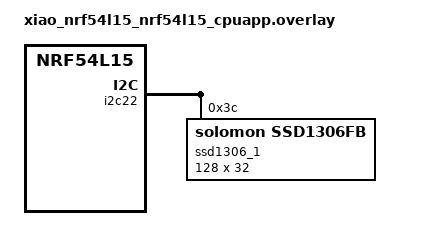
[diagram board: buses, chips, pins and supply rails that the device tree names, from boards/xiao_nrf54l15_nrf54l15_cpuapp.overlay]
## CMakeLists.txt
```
cmake_minimum_required(VERSION 3.20.0)
find_package(Zephyr REQUIRED HINTS $ENV{ZEPHYR_BASE})

project(oled_01)

target_sources(app PRIVATE src/main.c)
```

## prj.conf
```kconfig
CONFIG_PRINTK=y
CONFIG_I2C=y
CONFIG_DISPLAY=y
CONFIG_SSD1306=y
CONFIG_SSD1306_DEFAULT_CONTRAST=128
CONFIG_CHARACTER_FRAMEBUFFER=y
CONFIG_HEAP_MEM_POOL_SIZE=1024


CONFIG_LVGL=y
```

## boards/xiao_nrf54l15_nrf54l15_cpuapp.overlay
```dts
/ {
	chosen {
        zephyr,display = &ssd1306_1;
    };
};

&i2c22 {
	status = "okay";
	ssd1306_1: ssd1306@3c {
		compatible = "solomon,ssd1306fb";
		reg = <0x3c>;
		height = <32>;
		width = <128>;
		segment-offset = <0>;
		page-offset = <0>;
		display-offset = <0>;
		multiplex-ratio = <63>;
		prechargep = <0x22>;
		com-invdir;
		segment-remap;
	};
};

&pinctrl {
	i2c22_default: i2c22_default {
		group1 {
			psels = <NRF_PSEL(TWIM_SDA, 1, 10)>,
				<NRF_PSEL(TWIM_SCL, 1, 11)>;
		};
	};

	i2c22_sleep: i2c22_sleep {
		group1 {
			psels = <NRF_PSEL(TWIM_SDA, 1, 10)>,
				<NRF_PSEL(TWIM_SCL, 1, 11)>;
			low-power-enable;
		};
	};
};
```

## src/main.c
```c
#include <zephyr/kernel.h>
#include <zephyr/device.h>
#include <zephyr/drivers/display.h>
#include <zephyr/display/cfb.h>
#include <zephyr/sys/printk.h>

static const struct device *dev_dis = NULL;

int main(void)
{
	int ret;
	while(1)
	{
		k_msleep(5000);
		printk("oled display");
	}
	
	dev_dis = DEVICE_DT_GET(DT_NODELABEL(ssd1306_1));
	if (dev_dis == NULL)
	{
        while(1)
        {
            printk("device pointer is NULL");
            k_msleep(1000);
        }
		return;
	}

	if (!device_is_ready(dev_dis))
	{
        while(1)
        {
            printk("display device is not ready");
            k_msleep(1000);
        }
		
		return;
	}

	if(cfb_framebuffer_init(dev_dis))
	{
		while(1)
		{
			printk("cfb_framebuffer_init failed\n");
			k_msleep(1000);
		}
		return;
	}

	printk("Display initialized\n");

	struct display_capabilities capabilities;
	display_get_capabilities(dev_dis, &capabilities);

	const uint16_t x_res = capabilities.x_resolution;
	const uint16_t y_res = capabilities.y_resolution;

	printk("x_resolution: %d\n", x_res);
	printk("y_resolution: %d\n", y_res);
	printk("supported pixel formats: %d\n", capabilities.supported_pixel_formats);
	printk("screen_info: %d\n", capabilities.screen_info);
	printk("current_pixel_format: %d\n", capabilities.current_pixel_format);
	printk("current_orientation: %d\n", capabilities.current_orientation);

	// // cfb_framebuffer_clear(dev_dis, true);
	// // cfb_framebuffer_invert(dev_dis);

	// ret = cfb_print(dev_dis, "Hello World", 0, 0); // At position (0,0)
	// cfb_framebuffer_finalize(dev_dis);
	return 0;
}
```
